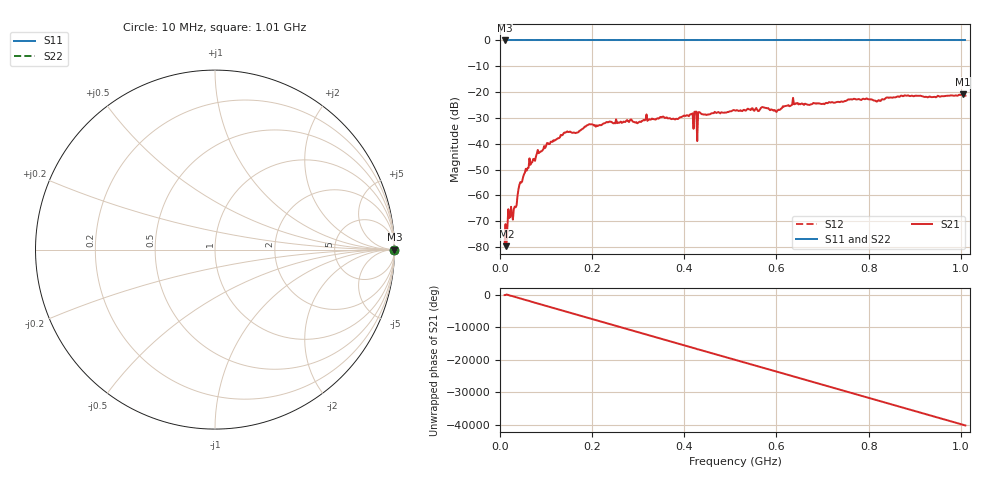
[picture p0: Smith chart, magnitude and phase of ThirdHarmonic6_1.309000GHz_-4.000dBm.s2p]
! 8/16/2025 2:27:35 PM
! C:\ANRITSUVNA\TEMP\TEMP.S2P
! CHANNEL.1
! TR.MEASUREMENT
! RAW.DATA
! RF.CORRECTION.OFF
! AVERAGING.OFF
! IF.BANDWIDTH: 5KHZ
! SWEEPTYPE:  FREQ.SWEEP(Linear)
! Reference Plane Port Info
! PORT:  PORT1  PORT2
! DISTANCE:  0  m  0  m
! TIME:  0  s  0  s
! PHASE.OFFSET:  0  deg.  0  deg.
! LOSS:  0  dB  0  dB
! REF.LOSS:  0  dB  0  dB
! REF.FREQ:  0  Hz  0  Hz
! Power Info
! POWER:  -20  dBm  -20  dBm
! EFF.POWER:  -20  dBm  -20  dBm
! SOURCE.ATTEN:  0  dB  0  dB
! TEST.ATTEN:  0  dB  0  dB
# GHZ S RI R 50.0
! FREQ.GHZ  S11RE  S11IM  S21RE  S21IM  S12RE  S12IM  S22RE  S22IM
!; PortSelection: Port_12
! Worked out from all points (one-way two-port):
!   501 points, 10 MHz to 1.01 GHz, reference 50 ohm
!   highest |S21| = -20.90 dB at 1.004 GHz (marker M1); lowest = -79.7 dB at 14 MHz (marker M2)
!   lowest |S11| = 0.0 dB at 10 MHz (marker M3)
!   |S11| at or under -10 dB: nowhere
!   |S22| runs from 0.0 to 0.0 dB; largest |S21 - S12| = 1.1
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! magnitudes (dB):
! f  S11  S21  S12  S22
! 10 MHz  0.0  -78.6  0.0  0.0
! 14 MHz  0.0  -79.7  0.0  0.0
! 22 MHz  0.0  -68.4  0.0  0.0
! 32 MHz  0.0  -64.3  0.0  0.0
! 44 MHz  0.0  -54.9  0.0  0.0
! 68 MHz  0.0  -47.3  0.0  0.0
! 100 MHz  0.0  -40.9  0.0  0.0
! 142 MHz  0.0  -35.7  0.0  0.0
! 178 MHz  0.0  -34.3  0.0  0.0
! 344 MHz  0.0  -30.3  0.0  0.0
! 414 MHz  0.0  -28.5  0.0  0.0
! 422 MHz  0.0  -27.6  0.0  0.0
! 424 MHz  0.0  -27.6  0.0  0.0
! 432 MHz  0.0  -27.7  0.0  0.0
! 434 MHz  0.0  -27.9  0.0  0.0
! 510 MHz  0.0  -27.1  0.0  0.0
! 598 MHz  0.0  -27.3  0.0  0.0
! 640 MHz  0.0  -24.7  0.0  0.0
! 678 MHz  0.0  -24.6  0.0  0.0
! 844 MHz  0.0  -22.2  0.0  0.0
! 1.004 GHz  0.0  -20.9  0.0  0.0
! 1.01 GHz  0.0  -21.4  0.0  0.0
